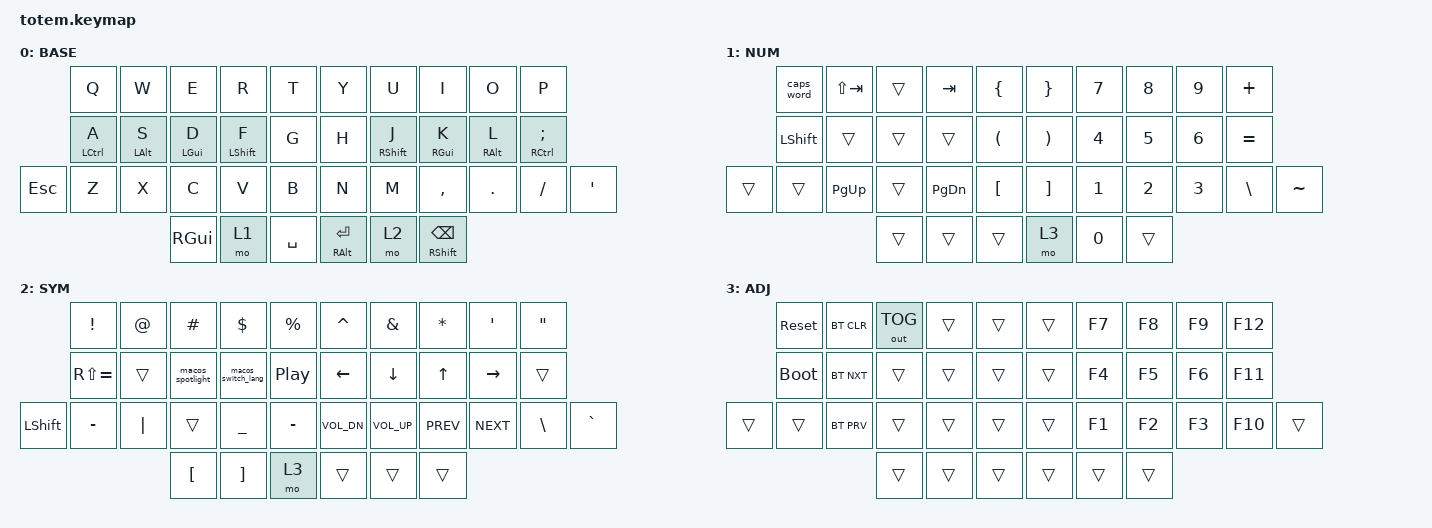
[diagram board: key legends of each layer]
//
//                                                        ▀▀▀▀▀     ▀▀▀▀▀          ▀▀█▀▀
//                                                        ▄▀▀▀▄  ▄  ▄▀▀▀▄  ▄  ▄▀▀▀▄  █  ▄▀▀▀▄
//                                                        █   █  █  █   █  █  █   █  █  █   █
//                                                         ▀▀▀   █   ▀▀▀   █   ▀▀▀   ▀   ▀▀▀
//                                                               █      ▄▄▄█▄▄▄    █   █  
//                                                               ▀      █  █  █     █▄█
//                                                             ▀▀▀▀▀    █  █  █      ▀
//                                                                      ▀  ▀  ▀
//
// ▄▄▄▄▄▄▄▄▄▄▄▄▄▄▄▄▄▄▄▄▄▄▄▄▄▄▄▄▄▄▄▄▄▄▄▄▄▄▄▄▄▄▄▄▄▄▄▄▄▄▄▄▄▄▄▄▄▄▄▄▄▄▄▄▄▄▄▄▄▄▄▄▄▄▄▄▄▄▄▄▄▄▄▄▄▄▄▄▄▄▄▄▄▄▄▄▄▄▄▄▄▄▄▄▄▄▄▄▄▄▄▄▄▄▄▄▄▄▄▄▄▄▄▄▄▄▄▄▄▄▄▄▄▄▄▄▄▄▄▄▄▄▄▄▄▄▄▄▄

#include <behaviors.dtsi>
#include <dt-bindings/zmk/bt.h>
#include <dt-bindings/zmk/keys.h>
#include <dt-bindings/zmk/outputs.h>

#define BASE 0
#define NAV  1
#define SYM  2
#define ADJ  3
#define TVP1 4
#define TVP2 5

&mt {
    quick-tap-ms = <130>;
    global-quick-tap;
    flavor = "tap-preferred";
    tapping-term-ms = <200>;
    require-prior-idle-ms = <25>;
};

/ {
    combos {
        compatible = "zmk,combos";

        macOS-right-workspace {
            bindings = <&kp RC(RIGHT)>;
            key-positions = <>;
        };

        macOS-left-workspace {
            bindings = <&kp LC(LEFT)>;
            key-positions = <>;
        };

        macOS-mission-control {
            bindings = <&kp RC(UP)>;
            key-positions = <>;
        };

        macOS-app-expose {
            bindings = <&kp RC(DOWN_ARROW)>;
            key-positions = <>;
        };

        macOS-emoji {
            bindings = <&kp RC(RG(SPACE))>;
            key-positions = <5 6>;
        };
    };

    behaviors {
        hmr: hmr {
            compatible = "zmk,behavior-hold-tap";
            label = "HMR";
            #binding-cells = <2>;
            bindings = <&kp>, <&kp>;

            tapping-term-ms = <240>;
            quick-tap-ms = <130>;
            hold-trigger-on-release;
            hold-trigger-key-positions = <0 1 2 3 4 10 11 12 13 14 20 21 22 23 24 25 32 33 34 13 14 23 24 25 32 33 37 36 35>;
            flavor = "balanced";
            require-prior-idle-ms = <150>;
        };

        hml: hml {
            compatible = "zmk,behavior-hold-tap";
            label = "HML";
            #binding-cells = <2>;
            bindings = <&kp>, <&kp>;

            tapping-term-ms = <240>;
            quick-tap-ms = <130>;
            hold-trigger-on-release;
            flavor = "balanced";
            hold-trigger-key-positions = <5 6 7 8 9 15 16 17 18 19 26 27 28 29 30 31 35 36 37 34 33 32>;
            require-prior-idle-ms = <150>;
        };

        hmr_shift: hmr_shift {
            compatible = "zmk,behavior-hold-tap";
            label = "HMR_SHIFT";
            #binding-cells = <2>;
            bindings = <&kp>, <&kp>;

            tapping-term-ms = <240>;
            quick-tap-ms = <130>;
            hold-trigger-on-release;
            hold-trigger-key-positions = <0 1 2 3 4 10 11 12 13 14 20 21 22 23 24 25 32 33 34 13 14 23 24 25 32 33 37 36 35>;
            flavor = "balanced";
        };

        hml_shift: hml_shift {
            compatible = "zmk,behavior-hold-tap";
            label = "HML_SHIFT";
            #binding-cells = <2>;
            bindings = <&kp>, <&kp>;

            tapping-term-ms = <240>;
            quick-tap-ms = <130>;
            hold-trigger-on-release;
            flavor = "balanced";
            hold-trigger-key-positions = <5 6 7 8 9 15 16 17 18 19 26 27 28 29 30 31 35 36 37 34 33 32>;
        };
    };

    macros {
        macos_switch_lang: macos_switch_land {
            compatible = "zmk,behavior-macro";
            #binding-cells = <0>;
            bindings = <&kp LG(SPACE)>;
            label = "MACOS_SWITCH_LAND";
        };

        macos_spotlight: macos_spotlight {
            compatible = "zmk,behavior-macro";
            #binding-cells = <0>;
            bindings = <&kp LC(SPACE)>;
            label = "MACOS_SPOTLIGHT";
        };
    };

    keymap {
        compatible = "zmk,keymap";

        // ▄▄▄▄▄▄▄▄▄▄▄▄▄▄▄▄▄▄▄▄▄▄▄▄▄▄▄▄▄▄▄▄▄▄▄▄▄▄▄▄▄▄▄▄▄▄▄▄▄▄▄▄▄▄▄▄▄▄▄▄▄▄▄▄▄▄▄▄▄▄▄▄▄▄▄▄▄▄▄▄▄▄▄▄▄▄▄▄▄▄▄▄▄▄▄▄▄▄▄▄▄▄▄▄▄▄▄▄▄▄▄▄▄▄▄▄▄▄▄▄▄▄▄▄▄▄▄▄▄▄▄▄▄▄▄▄▄▄▄▄▄▄▄▄▄▄▄▄▄

        base_layer {
            // ┏━━━━━━━━━━━━━━━━━━━━━━━━━━━━━━━━━━━━━━━┓

            label = "BASE";

            // ┗━━━━━━━━━━━━━━━━━━━━━━━━━━━━━━━━━━━━━━━┛
            //             ┏━━━━━━━━━━━┳━━━━━━━━━━━┳━━━━━━━━━━━┳━━━━━━━━━━━┳━━━━━━━━━━━┓   ┏━━━━━━━━━━━┳━━━━━━━━━━━┳━━━━━━━━━━━┳━━━━━━━━━━━┳━━━━━━━━━━━┓
            //             ┃     Q     ┃     W     ┃     F     ┃     P     ┃     G     ┃   ┃     J     ┃     L     ┃     U     ┃     Y     ┃     ;     ┃
            //             ┣━━━━━━━━━━━╋━━━━━━━━━━━╋━━━━━━━━━━━╋━━━━━━━━━━━╋━━━━━━━━━━━┫   ┣━━━━━━━━━━━╋━━━━━━━━━━━╋━━━━━━━━━━━╋━━━━━━━━━━━╋━━━━━━━━━━━┫
            //             ┃     A     ┃     R     ┃     S     ┃     T     ┃     D     ┃   ┃     H     ┃     N     ┃     E     ┃     I     ┃     O     ┃
            // ┏━━━━━━━━━━━╋━━━━━━━━━━━╋━━━━━━━━━━━╋━━━━━━━━━━━╋━━━━━━━━━━━╋━━━━━━━━━━━┫   ┣━━━━━━━━━━━╋━━━━━━━━━━━╋━━━━━━━━━━━╋━━━━━━━━━━━╋━━━━━━━━━━━╋━━━━━━━━━━━┓
            // ┃     Q     ┃     Z     ┃     X     ┃     C     ┃     V     ┃     B     ┃   ┃     K     ┃     M     ┃     ,     ┃     .     ┃     /     ┃     \     ┃
            // ┗━━━━━━━━━━━┻━━━━━━━━━━━┻━━━━━━━━━━━╋━━━━━━━━━━━╋━━━━━━━━━━━╋━━━━━━━━━━━┫   ┣━━━━━━━━━━━╋━━━━━━━━━━━╋━━━━━━━━━━━╋━━━━━━━━━━━┻━━━━━━━━━━━┻━━━━━━━━━━━┛
            //                                     ┃    DEL    ┃    TAB    ┃    SPC    ┃   ┃   ENTER   ┃           ┃   BSPC    ┃
            //                                     ┗━━━━━━━━━━━┻━━━━━━━━━━━┻━━━━━━━━━━━┛   ┗━━━━━━━━━━━┻━━━━━━━━━━━┻━━━━━━━━━━━┛

            bindings = <
            &kp Q         &kp W        &kp E        &kp R               &kp T        &kp Y          &kp U               &kp I                      &kp O        &kp P
            &hml LCTRL A  &hml LALT S  &hml LGUI D  &hml_shift LSHFT F  &kp G        &kp H          &hmr_shift RSHFT J  &hmr RGUI K                &hmr RALT L  &hmr RCTRL SEMICOLON
&kp ESCAPE  &kp Z         &kp X        &kp C        &kp V               &kp B        &kp N          &kp M               &kp COMMA                  &kp DOT      &kp FSLH              &kp SQT
                                       &kp RGUI     &mo 1               &kp SPACE    &hmr RALT RET  &mo 2               &mt RIGHT_SHIFT BACKSPACE
            >;
        };

        // ▄▄▄▄▄▄▄▄▄▄▄▄▄▄▄▄▄▄▄▄▄▄▄▄▄▄▄▄▄▄▄▄▄▄▄▄▄▄▄▄▄▄▄▄▄▄▄▄▄▄▄▄▄▄▄▄▄▄▄▄▄▄▄▄▄▄▄▄▄▄▄▄▄▄▄▄▄▄▄▄▄▄▄▄▄▄▄▄▄▄▄▄▄▄▄▄▄▄▄▄▄▄▄▄▄▄▄▄▄▄▄▄▄▄▄▄▄▄▄▄▄▄▄▄▄▄▄▄▄▄▄▄▄▄▄▄▄▄▄▄▄▄▄▄▄▄▄▄▄

        num_layer {
            // ┏━━━━━━━━━━━━━━━━━━━━━━━━━━━━━━━━━━━━━━━┓

            label = "NUM";

            // ┗━━━━━━━━━━━━━━━━━━━━━━━━━━━━━━━━━━━━━━━┛
            //             ┏━━━━━━━━━━━┳━━━━━━━━━━━┳━━━━━━━━━━━┳━━━━━━━━━━━┳━━━━━━━━━━━┓   ┏━━━━━━━━━━━┳━━━━━━━━━━━┳━━━━━━━━━━━┳━━━━━━━━━━━┳━━━━━━━━━━━┓
            //             ┃           ┃           ┃     UP    ┃           ┃     {     ┃   ┃     }     ┃     7     ┃     8     ┃     9     ┃     +     ┃
            //             ┣━━━━━━━━━━━╋━━━━━━━━━━━╋━━━━━━━━━━━╋━━━━━━━━━━━╋━━━━━━━━━━━┫   ┣━━━━━━━━━━━╋━━━━━━━━━━━╋━━━━━━━━━━━╋━━━━━━━━━━━╋━━━━━━━━━━━┫
            //             ┃   SHIFT   ┃   LEFT    ┃    DOWN   ┃   RIGHT   ┃     [     ┃   ┃     ]     ┃     4     ┃     5     ┃     6     ┃     -     ┃
            // ┏━━━━━━━━━━━╋━━━━━━━━━━━╋━━━━━━━━━━━╋━━━━━━━━━━━╋━━━━━━━━━━━╋━━━━━━━━━━━┫   ┣━━━━━━━━━━━╋━━━━━━━━━━━╋━━━━━━━━━━━╋━━━━━━━━━━━╋━━━━━━━━━━━╋━━━━━━━━━━━┓
            // ┃           ┃           ┃   P UP    ┃  C LOCK   ┃  P DOWN   ┃     (     ┃   ┃     )     ┃     1     ┃     2     ┃     3     ┃     *     ┃           ┃
            // ┗━━━━━━━━━━━┻━━━━━━━━━━━┻━━━━━━━━━━━╋━━━━━━━━━━━╋━━━━━━━━━━━╋━━━━━━━━━━━┫   ┣━━━━━━━━━━━╋━━━━━━━━━━━╋━━━━━━━━━━━╋━━━━━━━━━━━┻━━━━━━━━━━━┻━━━━━━━━━━━┛
            //                                     ┃           ┃    TAB    ┃    SPC    ┃   ┃    DEL    ┃     0     ┃           ┃
            //                                     ┗━━━━━━━━━━━┻━━━━━━━━━━━┻━━━━━━━━━━━┛   ┗━━━━━━━━━━━┻━━━━━━━━━━━┻━━━━━━━━━━━┛

            bindings = <
        &caps_word  &kp LS(TAB)  &trans  &kp TAB        &kp LEFT_BRACE          &kp RIGHT_BRACE        &kp N7        &kp N8  &kp N9  &kp PLUS
        &kp LSHFT   &trans       &trans  &trans         &kp LEFT_PARENTHESIS    &kp RIGHT_PARENTHESIS  &kp N4        &kp N5  &kp N6  &kp EQUAL
&trans  &trans      &kp PAGE_UP  &trans  &kp PAGE_DOWN  &kp LEFT_BRACKET        &kp RIGHT_BRACKET      &kp N1        &kp N2  &kp N3  &kp BACKSLASH  &kp TILDE
                                 &trans  &trans         &trans                  &mo 3                  &kp NUMBER_0  &trans
            >;
        };

        // ▄▄▄▄▄▄▄▄▄▄▄▄▄▄▄▄▄▄▄▄▄▄▄▄▄▄▄▄▄▄▄▄▄▄▄▄▄▄▄▄▄▄▄▄▄▄▄▄▄▄▄▄▄▄▄▄▄▄▄▄▄▄▄▄▄▄▄▄▄▄▄▄▄▄▄▄▄▄▄▄▄▄▄▄▄▄▄▄▄▄▄▄▄▄▄▄▄▄▄▄▄▄▄▄▄▄▄▄▄▄▄▄▄▄▄▄▄▄▄▄▄▄▄▄▄▄▄▄▄▄▄▄▄▄▄▄▄▄▄▄▄▄▄▄▄▄▄▄▄

        sym_layer {
            // ┏━━━━━━━━━━━━━━━━━━━━━━━━━━━━━━━━━━━━━━━┓

            label = "SYM";

            // ┗━━━━━━━━━━━━━━━━━━━━━━━━━━━━━━━━━━━━━━━┛
            //             ┏━━━━━━━━━━━┳━━━━━━━━━━━┳━━━━━━━━━━━┳━━━━━━━━━━━┳━━━━━━━━━━━┓   ┏━━━━━━━━━━━┳━━━━━━━━━━━┳━━━━━━━━━━━┳━━━━━━━━━━━┳━━━━━━━━━━━┓
            //             ┃     !     ┃     @     ┃     #     ┃     $     ┃     %     ┃   ┃     ˆ     ┃     &     ┃     Ü     ┃     '     ┃     "     ┃
            //             ┣━━━━━━━━━━━╋━━━━━━━━━━━╋━━━━━━━━━━━╋━━━━━━━━━━━╋━━━━━━━━━━━┫   ┣━━━━━━━━━━━╋━━━━━━━━━━━╋━━━━━━━━━━━╋━━━━━━━━━━━╋━━━━━━━━━━━┫
            //             ┃     Ä     ┃           ┃    SZ     ┃           ┃           ┃   ┃   MUTE    ┃   YEN     ┃   EURO    ┃  POUND    ┃     Ö     ┃
            // ┏━━━━━━━━━━━╋━━━━━━━━━━━╋━━━━━━━━━━━╋━━━━━━━━━━━╋━━━━━━━━━━━╋━━━━━━━━━━━┫   ┣━━━━━━━━━━━╋━━━━━━━━━━━╋━━━━━━━━━━━╋━━━━━━━━━━━╋━━━━━━━━━━━╋━━━━━━━━━━━┓
            // ┃           ┃  EMAIL1   ┃  EMAIL2   ┃           ┃           ┃           ┃   ┃   VOL-    ┃   VOL+    ┃   LAST    ┃   NEXT    ┃     \     ┃           ┃
            // ┗━━━━━━━━━━━┻━━━━━━━━━━━┻━━━━━━━━━━━╋━━━━━━━━━━━╋━━━━━━━━━━━╋━━━━━━━━━━━┫   ┣━━━━━━━━━━━╋━━━━━━━━━━━╋━━━━━━━━━━━╋━━━━━━━━━━━┻━━━━━━━━━━━┻━━━━━━━━━━━┛
            //                                     ┃           ┃    GIF    ┃    ADJ    ┃   ┃           ┃           ┃           ┃
            //                                     ┗━━━━━━━━━━━┻━━━━━━━━━━━┻━━━━━━━━━━━┛   ┗━━━━━━━━━━━┻━━━━━━━━━━━┻━━━━━━━━━━━┛

            bindings = <
                &kp EXCL       &kp AT    &kp HASH          &kp DLLR            &kp PRCNT    &kp CARET     &kp AMPS      &kp ASTERISK  &kp SQT     &kp DQT
                &kp RS(EQUAL)  &trans    &macos_spotlight  &macos_switch_lang  &kp C_PP     &kp LEFT      &kp DOWN      &kp UP        &kp RIGHT   &trans
&kp LEFT_SHIFT  &kp MINUS      &kp PIPE  &trans            &kp UNDERSCORE      &kp MINUS    &kp C_VOL_DN  &kp C_VOL_UP  &kp C_PREV    &kp C_NEXT  &kp BSLH  &kp GRAVE
                                         &kp LEFT_BRACKET  &kp RIGHT_BRACKET   &mo 3        &trans        &trans        &trans
            >;
        };

        // ▄▄▄▄▄▄▄▄▄▄▄▄▄▄▄▄▄▄▄▄▄▄▄▄▄▄▄▄▄▄▄▄▄▄▄▄▄▄▄▄▄▄▄▄▄▄▄▄▄▄▄▄▄▄▄▄▄▄▄▄▄▄▄▄▄▄▄▄▄▄▄▄▄▄▄▄▄▄▄▄▄▄▄▄▄▄▄▄▄▄▄▄▄▄▄▄▄▄▄▄▄▄▄▄▄▄▄▄▄▄▄▄▄▄▄▄▄▄▄▄▄▄▄▄▄▄▄▄▄▄▄▄▄▄▄▄▄▄▄▄▄▄▄▄▄▄▄▄▄

        adjust_layer {
            // ┏━━━━━━━━━━━━━━━━━━━━━━━━━━━━━━━━━━━━━━━┓

            label = "ADJ";

            // ┗━━━━━━━━━━━━━━━━━━━━━━━━━━━━━━━━━━━━━━━┛
            //             ┏━━━━━━━━━━━┳━━━━━━━━━━━┳━━━━━━━━━━━┳━━━━━━━━━━━┳━━━━━━━━━━━┓   ┏━━━━━━━━━━━┳━━━━━━━━━━━┳━━━━━━━━━━━┳━━━━━━━━━━━┳━━━━━━━━━━━┓
            //             ┃   RESET   ┃ BT CLEAR  ┃  OUT TOG  ┃           ┃           ┃   ┃           ┃    F7     ┃    F8     ┃    F9     ┃    F12    ┃
            //             ┣━━━━━━━━━━━╋━━━━━━━━━━━╋━━━━━━━━━━━╋━━━━━━━━━━━╋━━━━━━━━━━━┫   ┣━━━━━━━━━━━╋━━━━━━━━━━━╋━━━━━━━━━━━╋━━━━━━━━━━━╋━━━━━━━━━━━┫
            //             ┃ BOOTLOAD  ┃ BT NEXT   ┃           ┃           ┃           ┃   ┃           ┃    F4     ┃    F5     ┃    F6     ┃    F11    ┃
            // ┏━━━━━━━━━━━╋━━━━━━━━━━━╋━━━━━━━━━━━╋━━━━━━━━━━━╋━━━━━━━━━━━╋━━━━━━━━━━━┫   ┣━━━━━━━━━━━╋━━━━━━━━━━━╋━━━━━━━━━━━╋━━━━━━━━━━━╋━━━━━━━━━━━╋━━━━━━━━━━━┓
            // ┃           ┃           ┃ BT PREV   ┃           ┃           ┃           ┃   ┃           ┃    F1     ┃    F2     ┃    F3     ┃    F10    ┃           ┃
            // ┗━━━━━━━━━━━┻━━━━━━━━━━━┻━━━━━━━━━━━╋━━━━━━━━━━━╋━━━━━━━━━━━╋━━━━━━━━━━━┫   ┣━━━━━━━━━━━╋━━━━━━━━━━━╋━━━━━━━━━━━╋━━━━━━━━━━━┻━━━━━━━━━━━┻━━━━━━━━━━━┛
            //                                     ┃           ┃           ┃           ┃   ┃           ┃           ┃           ┃
            //                                     ┗━━━━━━━━━━━┻━━━━━━━━━━━┻━━━━━━━━━━━┛   ┗━━━━━━━━━━━┻━━━━━━━━━━━┻━━━━━━━━━━━┛

            bindings = <
        &sys_reset   &bt BT_CLR  &out OUT_TOG  &trans  &trans    &trans  &kp F7  &kp F8  &kp F9  &kp F12
        &bootloader  &bt BT_NXT  &trans        &trans  &trans    &trans  &kp F4  &kp F5  &kp F6  &kp F11
&trans  &trans       &bt BT_PRV  &trans        &trans  &trans    &trans  &kp F1  &kp F2  &kp F3  &kp F10  &trans
                                 &trans        &trans  &trans    &trans  &trans  &trans
            >;
        };

        // ▄▄▄▄▄▄▄▄▄▄▄▄▄▄▄▄▄▄▄▄▄▄▄▄▄▄▄▄▄▄▄▄▄▄▄▄▄▄▄▄▄▄▄▄▄▄▄▄▄▄▄▄▄▄▄▄▄▄▄▄▄▄▄▄▄▄▄▄▄▄▄▄▄▄▄▄▄▄▄▄▄▄▄▄▄▄▄▄▄▄▄▄▄▄▄▄▄▄▄▄▄▄▄▄▄▄▄▄▄▄▄▄▄▄▄▄▄▄▄▄▄▄▄▄▄▄▄▄▄▄▄▄▄▄▄▄▄▄▄▄▄▄▄▄▄▄▄▄▄
        // ▄▄▄▄▄▄▄▄▄▄▄▄▄▄▄▄▄▄▄▄▄▄▄▄▄▄▄▄▄▄▄▄▄▄▄▄▄▄▄▄▄▄▄▄▄▄▄▄▄▄▄▄▄▄▄▄▄▄▄▄▄▄▄▄▄▄▄▄▄▄▄▄▄▄▄▄▄▄▄▄▄▄▄▄▄▄▄▄▄▄▄▄▄▄▄▄▄▄▄▄▄▄▄▄▄▄▄▄▄▄▄▄▄▄▄▄▄▄▄▄▄▄▄▄▄▄▄▄▄▄▄▄▄▄▄▄▄▄▄▄▄▄▄▄▄▄▄▄▄
    };
};
